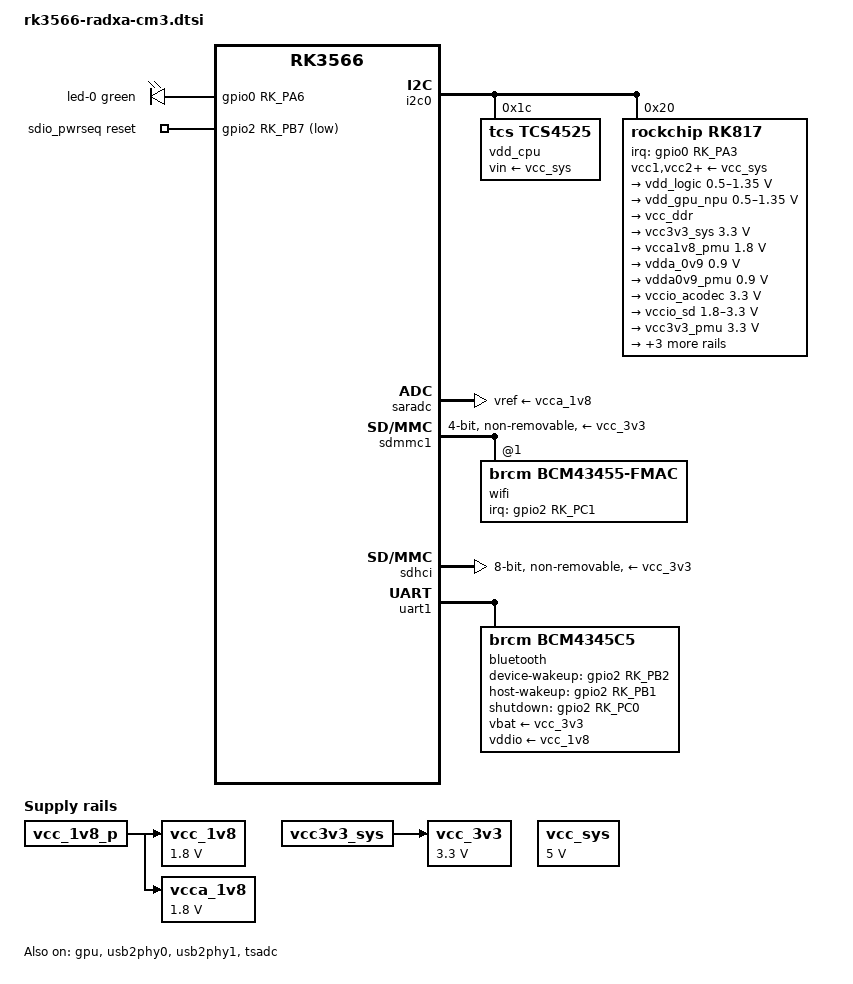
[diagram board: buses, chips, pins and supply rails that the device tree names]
// SPDX-License-Identifier: (GPL-2.0+ OR MIT)
/*
 * Copyright (c) 2022 Radxa Limited
 * Copyright (c) 2022 Amarula Solutions(India)
 */

#include <dt-bindings/gpio/gpio.h>
#include <dt-bindings/leds/common.h>

/ {
	compatible = "radxa,cm3", "rockchip,rk3566";

	aliases {
		mmc0 = &sdhci;
	};

	leds {
		compatible = "gpio-leds";

		led-0 {
			gpios = <&gpio0 RK_PA6 GPIO_ACTIVE_HIGH>;
			color = <LED_COLOR_ID_GREEN>;
			function = LED_FUNCTION_STATUS;
			linux,default-trigger = "timer";
			default-state = "on";
			pinctrl-names = "default";
			pinctrl-0 = <&user_led2>;
		};
	};

	vcc_sys: regulator-vcc-sys {
		compatible = "regulator-fixed";
		regulator-name = "vcc_sys";
		regulator-always-on;
		regulator-boot-on;
		regulator-min-microvolt = <5000000>;
		regulator-max-microvolt = <5000000>;
	};

	vcc_1v8: regulator-vcc-1v8 {
		compatible = "regulator-fixed";
		regulator-name = "vcc_1v8";
		regulator-always-on;
		regulator-boot-on;
		regulator-min-microvolt = <1800000>;
		regulator-max-microvolt = <1800000>;
		vin-supply = <&vcc_1v8_p>;
	};

	vcc_3v3: regulator-vcc-3v3 {
		compatible = "regulator-fixed";
		regulator-name = "vcc_3v3";
		regulator-always-on;
		regulator-boot-on;
		regulator-min-microvolt = <3300000>;
		regulator-max-microvolt = <3300000>;
		vin-supply = <&vcc3v3_sys>;
	};

	vcca_1v8: regulator-vcca-1v8 {
		compatible = "regulator-fixed";
		regulator-name = "vcca_1v8";
		regulator-always-on;
		regulator-boot-on;
		regulator-min-microvolt = <1800000>;
		regulator-max-microvolt = <1800000>;
		vin-supply = <&vcc_1v8_p>;
	};

	sdio_pwrseq: pwrseq-sdio {
		compatible = "mmc-pwrseq-simple";
		clocks = <&rk817 1>;
		clock-names = "ext_clock";
		pinctrl-names = "default";
		pinctrl-0 = <&wifi_reg_on_h>;
		reset-gpios = <&gpio2 RK_PB7 GPIO_ACTIVE_LOW>;
	};
};

&cpu0 {
	cpu-supply = <&vdd_cpu>;
};

&cpu1 {
	cpu-supply = <&vdd_cpu>;
};

&cpu2 {
	cpu-supply = <&vdd_cpu>;
};

&cpu3 {
	cpu-supply = <&vdd_cpu>;
};

&gpu {
	mali-supply = <&vdd_gpu_npu>;
	status = "okay";
};

&i2c0 {
	status = "okay";

	vdd_cpu: regulator@1c {
		compatible = "tcs,tcs4525";
		reg = <0x1c>;
		fcs,suspend-voltage-selector = <1>;
		regulator-name = "vdd_cpu";
		regulator-always-on;
		regulator-boot-on;
		regulator-min-microvolt = <712500>;
		regulator-max-microvolt = <1390000>;
		regulator-ramp-delay = <2300>;
		vin-supply = <&vcc_sys>;

		regulator-state-mem {
			regulator-off-in-suspend;
		};
	};

	rk817: pmic@20 {
		compatible = "rockchip,rk817";
		reg = <0x20>;
		#clock-cells = <1>;
		clock-output-names = "rk817-clkout1", "rk817-clkout2";
		interrupt-parent = <&gpio0>;
		interrupts = <RK_PA3 IRQ_TYPE_LEVEL_LOW>;
		pinctrl-names = "default";
		pinctrl-0 = <&pmic_int_l>;
		system-power-controller;
		wakeup-source;

		vcc1-supply = <&vcc_sys>;
		vcc2-supply = <&vcc_sys>;
		vcc3-supply = <&vcc_sys>;
		vcc4-supply = <&vcc_sys>;
		vcc5-supply = <&vcc_sys>;
		vcc6-supply = <&vcc_sys>;
		vcc7-supply = <&vcc_sys>;

		regulators {
			vdd_logic: DCDC_REG1 {
				regulator-name = "vdd_logic";
				regulator-always-on;
				regulator-boot-on;
				regulator-initial-mode = <0x2>;
				regulator-min-microvolt = <500000>;
				regulator-max-microvolt = <1350000>;
				regulator-ramp-delay = <6001>;
				regulator-state-mem {
					regulator-on-in-suspend;
					regulator-suspend-microvolt = <900000>;
				};
			};

			vdd_gpu_npu: DCDC_REG2 {
				regulator-name = "vdd_gpu_npu";
				regulator-always-on;
				regulator-boot-on;
				regulator-initial-mode = <0x2>;
				regulator-min-microvolt = <500000>;
				regulator-max-microvolt = <1350000>;
				regulator-ramp-delay = <6001>;
				regulator-state-mem {
					regulator-off-in-suspend;
				};
			};

			vcc_ddr: DCDC_REG3 {
				regulator-name = "vcc_ddr";
				regulator-always-on;
				regulator-boot-on;
				regulator-initial-mode = <0x2>;
				regulator-state-mem {
					regulator-on-in-suspend;
				};
			};

			vcc3v3_sys: DCDC_REG4 {
				regulator-name = "vcc3v3_sys";
				regulator-always-on;
				regulator-boot-on;
				regulator-initial-mode = <0x2>;
				regulator-min-microvolt = <3300000>;
				regulator-max-microvolt = <3300000>;
				regulator-state-mem {
					regulator-on-in-suspend;
					regulator-suspend-microvolt = <3300000>;
				};
			};

			vcca1v8_pmu: LDO_REG1 {
				regulator-name = "vcca1v8_pmu";
				regulator-always-on;
				regulator-boot-on;
				regulator-min-microvolt = <1800000>;
				regulator-max-microvolt = <1800000>;
				regulator-state-mem {
					regulator-on-in-suspend;
					regulator-suspend-microvolt = <1800000>;
				};
			};

			vdda_0v9: LDO_REG2 {
				regulator-name = "vdda_0v9";
				regulator-always-on;
				regulator-boot-on;
				regulator-min-microvolt = <900000>;
				regulator-max-microvolt = <900000>;
				regulator-state-mem {
					regulator-off-in-suspend;
				};
			};

			vdda0v9_pmu: LDO_REG3 {
				regulator-name = "vdda0v9_pmu";
				regulator-always-on;
				regulator-boot-on;
				regulator-min-microvolt = <900000>;
				regulator-max-microvolt = <900000>;
				regulator-state-mem {
					regulator-on-in-suspend;
					regulator-suspend-microvolt = <900000>;
				};
			};

			vccio_acodec: LDO_REG4 {
				regulator-name = "vccio_acodec";
				regulator-always-on;
				regulator-boot-on;
				regulator-min-microvolt = <3300000>;
				regulator-max-microvolt = <3300000>;
				regulator-state-mem {
					regulator-off-in-suspend;
				};
			};

			vccio_sd: LDO_REG5 {
				regulator-name = "vccio_sd";
				regulator-always-on;
				regulator-boot-on;
				regulator-min-microvolt = <1800000>;
				regulator-max-microvolt = <3300000>;
				regulator-state-mem {
					regulator-off-in-suspend;
				};
			};

			vcc3v3_pmu: LDO_REG6 {
				regulator-name = "vcc3v3_pmu";
				regulator-always-on;
				regulator-boot-on;
				regulator-min-microvolt = <3300000>;
				regulator-max-microvolt = <3300000>;
				regulator-state-mem {
					regulator-on-in-suspend;
					regulator-suspend-microvolt = <3300000>;
				};
			};

			vcc_1v8_p: LDO_REG7 {
				regulator-name = "vcc_1v8_p";
				regulator-always-on;
				regulator-boot-on;
				regulator-min-microvolt = <1800000>;
				regulator-max-microvolt = <1800000>;
				regulator-state-mem {
					regulator-off-in-suspend;
				};
			};

			vcc1v8_dvp: LDO_REG8 {
				regulator-name = "vcc1v8_dvp";
				regulator-always-on;
				regulator-boot-on;
				regulator-min-microvolt = <1800000>;
				regulator-max-microvolt = <1800000>;
				regulator-state-mem {
					regulator-off-in-suspend;
				};
			};

			vcc2v8_dvp: LDO_REG9 {
				regulator-name = "vcc2v8_dvp";
				regulator-always-on;
				regulator-boot-on;
				regulator-min-microvolt = <2800000>;
				regulator-max-microvolt = <2800000>;
				regulator-state-mem {
					regulator-off-in-suspend;
				};
			};

		};
	};
};

&pinctrl {
	bluetooth {
		bt_host_wake_h: bt-host-wake-h {
			rockchip,pins = <2 RK_PB2 RK_FUNC_GPIO &pcfg_pull_none>;
		};

		bt_reg_on_h: bt-reg-on-h {
			rockchip,pins = <2 RK_PC0 RK_FUNC_GPIO &pcfg_pull_none>;
		};

		bt_wake_host_h: bt-wake-host-h {
			rockchip,pins = <2 RK_PB1 RK_FUNC_GPIO &pcfg_pull_none>;
		};
	};

	pmic {
		pmic_int_l: pmic-int-l {
			rockchip,pins = <0 RK_PA3 RK_FUNC_GPIO &pcfg_pull_up>;
		};
	};

	leds {
		user_led2: user-led2 {
			rockchip,pins = <0 RK_PA6 RK_FUNC_GPIO &pcfg_pull_none>;
		};
	};

	wifi {
		wifi_reg_on_h: wifi-reg-on-h {
			rockchip,pins = <2 RK_PB7 RK_FUNC_GPIO &pcfg_pull_none>;
		};

		wifi_host_wake_h: wifi-host-wake-h {
			rockchip,pins = <2 RK_PC1 RK_FUNC_GPIO &pcfg_pull_none>;
		};
	};
};

&pmu_io_domains {
	pmuio1-supply = <&vcc3v3_pmu>;
	pmuio2-supply = <&vcc_3v3>;
	vccio1-supply = <&vccio_acodec>;
	vccio2-supply = <&vcc_1v8>;
	vccio3-supply = <&vccio_sd>;
	vccio4-supply = <&vcc_1v8>;
	vccio5-supply = <&vcc_3v3>;
	vccio6-supply = <&vcc_3v3>;
	vccio7-supply = <&vcc_3v3>;
	status = "okay";
};

&saradc {
	vref-supply = <&vcca_1v8>;
	status = "okay";
};

&sdmmc1 {
	#address-cells = <1>;
	#size-cells = <0>;
	bus-width = <4>;
	disable-wp;
	cap-sd-highspeed;
	cap-sdio-irq;
	keep-power-in-suspend;
	mmc-pwrseq = <&sdio_pwrseq>;
	non-removable;
	pinctrl-names = "default";
	pinctrl-0 = <&sdmmc1_bus4 &sdmmc1_clk &sdmmc1_cmd>;
	sd-uhs-sdr104;
	vmmc-supply = <&vcc_3v3>;
	vqmmc-supply = <&vcc_1v8>;
	status = "okay";

	wifi@1 {
		compatible = "brcm,bcm43455-fmac";
		reg = <1>;
		interrupt-parent = <&gpio2>;
		interrupts = <RK_PC1 IRQ_TYPE_LEVEL_HIGH>;
		interrupt-names = "host-wake";
		pinctrl-names = "default";
		pinctrl-0 = <&wifi_host_wake_h>;
	};
};

&sdhci {
	bus-width = <8>;
	max-frequency = <200000000>;
	mmc-hs200-1_8v;
	non-removable;
	pinctrl-names = "default";
	pinctrl-0 = <&emmc_bus8 &emmc_clk &emmc_cmd &emmc_datastrobe>;
	vmmc-supply = <&vcc_3v3>;
	vqmmc-supply = <&vcc_1v8>;
	status = "okay";
};

&uart1 {
	pinctrl-names = "default";
	pinctrl-0 = <&uart1m0_ctsn &uart1m0_rtsn &uart1m0_xfer>;
	status = "okay";

	bluetooth {
		compatible = "brcm,bcm4345c5";
		clocks = <&rk817 1>;
		clock-names = "lpo";
		device-wakeup-gpios = <&gpio2 RK_PB2 GPIO_ACTIVE_HIGH>;
		host-wakeup-gpios = <&gpio2 RK_PB1 GPIO_ACTIVE_HIGH>;
		pinctrl-names = "default";
		pinctrl-0 = <&bt_host_wake_h &bt_reg_on_h &bt_wake_host_h>;
		shutdown-gpios = <&gpio2 RK_PC0 GPIO_ACTIVE_HIGH>;
		vbat-supply = <&vcc_3v3>;
		vddio-supply = <&vcc_1v8>;
	};
};

&usb2phy0 {
	status = "okay";
};

&usb2phy1 {
	status = "okay";
};

&tsadc {
	rockchip,hw-tshut-mode = <1>;
	rockchip,hw-tshut-polarity = <0>;
	status = "okay";
};
